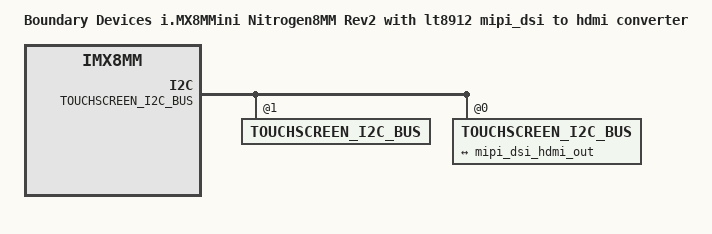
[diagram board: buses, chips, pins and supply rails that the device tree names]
// SPDX-License-Identifier: (GPL-2.0+ OR MIT)
/*
 * Copyright 2018 Boundary Devices
 */

#include "imx8mm-nitrogen8mm_rev2.dts"

/ {
	model = "Boundary Devices i.MX8MMini Nitrogen8MM Rev2 with lt8912 mipi_dsi to hdmi converter";
	compatible = "boundary,imx8mm-nitrogen8mm_rev2-lt8912" ,"boundary,imx8mm-nitrogen8mm_rev2", "fsl,imx8mm";

	/delete-node/ alias_create_phandles;

	aliases {
		/delete-property/ fb_mipi;
		/delete-property/ mipi;
		/delete-property/ mipi_to_lvds;
		/delete-property/ t_mipi;
	};

	soc@0 {
		bus@30800000 {
			i2c@30a30000 {
				/delete-node/ mipi-to-lvds@2c;
			};
		};

		bus@32c00000 {
			mipi_dsi@32e10000 {
				/delete-node/ panel@0;
				port@1 {
					mipi_dsi_hdmi_out: endpoint {
						remote-endpoint = <&lt8912_1_in>;
						attach-bridge;
					};
				};
			};
		};
	};

};

&TOUCHSCREEN_I2C_BUS {
	i2cmux9540@70 {
		TOUCHSCREEN_I2C_BUS@1 {
			lt8912@48 {
				/delete-property/ display-dsi;
			};
		};
	};
};

&TOUCHSCREEN_I2C_BUS {
	i2cmux9546@70 {
		TOUCHSCREEN_I2C_BUS@0 {
			lt8912@48 {
				compatible = "lontium,lt8912_drm";
				dsi-lanes = <4>;
				/delete-property/ display-dsi;
				port@0 {
					lt8912_1_in: endpoint {
						remote-endpoint = <&mipi_dsi_hdmi_out>;
					};
				};
			};
		};
	};
};
